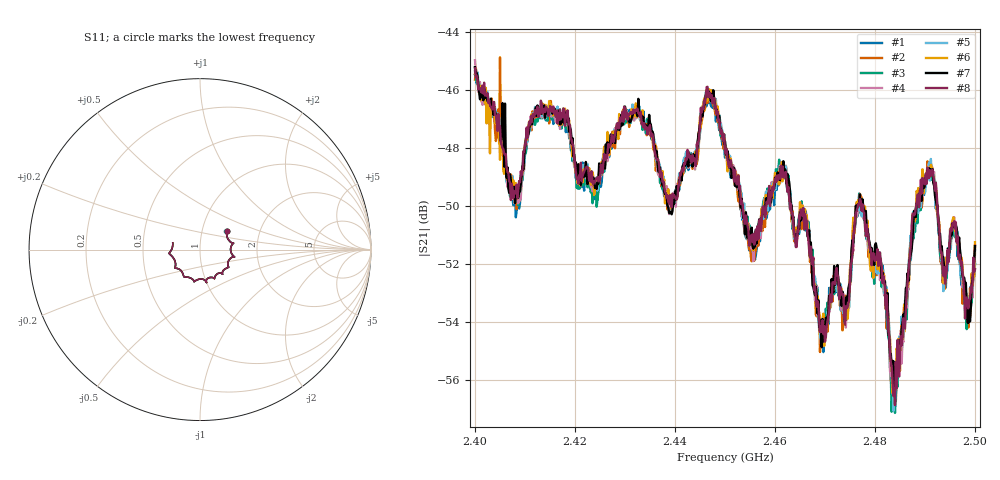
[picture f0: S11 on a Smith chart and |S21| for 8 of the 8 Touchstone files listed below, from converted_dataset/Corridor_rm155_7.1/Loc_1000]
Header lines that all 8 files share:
# Hz S RI R 50
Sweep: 2.4 GHz to 2.5 GHz
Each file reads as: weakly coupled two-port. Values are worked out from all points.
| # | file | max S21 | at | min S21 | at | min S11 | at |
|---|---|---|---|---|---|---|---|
| 1 | Lab_139_1Ch1.s2p | -45.36 dB | 2.4 GHz | -57.0 dB | 2.4837 GHz | -15.9 dB | 2.4895 GHz |
| 2 | Lab_139_2Ch1.s2p | -44.87 dB | 2.405 GHz | -56.8 dB | 2.4837 GHz | -15.9 dB | 2.4895 GHz |
| 3 | Lab_139_3Ch1.s2p | -45.43 dB | 2.4002 GHz | -57.1 dB | 2.484 GHz | -15.9 dB | 2.4897 GHz |
| 4 | Lab_139_4Ch1.s2p | -44.97 dB | 2.4 GHz | -56.5 dB | 2.4838 GHz | -15.9 dB | 2.4898 GHz |
| 5 | Lab_139_7Ch1.s2p | -45.25 dB | 2.4 GHz | -57.1 dB | 2.4837 GHz | -15.9 dB | 2.4895 GHz |
| 6 | Lab_139_8Ch1.s2p | -45.26 dB | 2.4002 GHz | -56.5 dB | 2.4835 GHz | -15.9 dB | 2.4895 GHz |
| 7 | Lab_139_9Ch1.s2p | -45.21 dB | 2.4 GHz | -56.3 dB | 2.4838 GHz | -15.9 dB | 2.4895 GHz |
| 8 | Lab_139_10Ch1.s2p | -45.25 dB | 2.4 GHz | -56.9 dB | 2.484 GHz | -15.9 dB | 2.4898 GHz |
